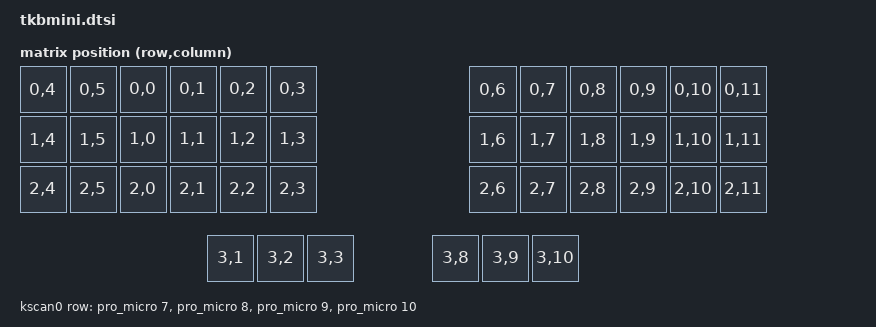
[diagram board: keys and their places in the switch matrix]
#include <dt-bindings/zmk/matrix_transform.h>
#include <physical_layouts.dtsi>


/ {

	chosen {
		zmk,kscan = &kscan0;
		zmk,physical-layouts = tkbmini_layout;
	};

	default_transform: keymap_transform_0 {
		compatible = "zmk,matrix-transform";
		columns = <12>;
		rows = <4>;
		map = <
	 RC(0,0) RC(0,1) RC(0,2) RC(0,3) RC(0,4) RC(0,5)    RC(0,6) RC(0,7) RC(0,8) RC(0,9) RC(0,10) RC(0,11)
	 RC(1,0) RC(1,1) RC(1,2) RC(1,3) RC(1,4) RC(1,5)    RC(1,6) RC(1,7) RC(1,8) RC(1,9) RC(1,10) RC(1,11)
	 RC(2,0) RC(2,1) RC(2,2) RC(2,3) RC(2,4) RC(2,5)    RC(2,6) RC(2,7) RC(2,8) RC(2,9) RC(2,10) RC(2,11)
			 RC(3,1) RC(3,2) RC(3,3)                                    RC(3,8) RC(3,9) RC(3,10)
		>;
	};

	 kscan0: kscan {
        compatible = "zmk,kscan-gpio-matrix";
        label = "KSCAN";
        diode-direction = "col2row";
		row-gpios
			= <&pro_micro 7 (GPIO_ACTIVE_HIGH | GPIO_PULL_DOWN)>
			, <&pro_micro 8 (GPIO_ACTIVE_HIGH | GPIO_PULL_DOWN)>
			, <&pro_micro 9  (GPIO_ACTIVE_HIGH | GPIO_PULL_DOWN)>
			, <&pro_micro 10  (GPIO_ACTIVE_HIGH | GPIO_PULL_DOWN)>
			;
    };


    physical_layout0: tkbmini_layout {
        compatible = "zmk,physical-layout";
        display-name = "tkbmini";

        kscan = <&kscan0>;
        transform = <&matrix_transform0>;

        keys  //                     w   h    x    y     rot    rx    ry
            = <&key_physical_attrs 100 100  200    0       0     0     0>
            , <&key_physical_attrs 100 100  300    0       0     0     0>
            , <&key_physical_attrs 100 100  400    0       0     0     0>
            , <&key_physical_attrs 100 100  500    0       0     0     0>
            , <&key_physical_attrs 100 100    0    1       0     0     0>
            , <&key_physical_attrs 100 100  100    1       0     0     0>
            , <&key_physical_attrs 100 100  900    1       0     0     0>
            , <&key_physical_attrs 100 100 1000    1       0     0     0>
            , <&key_physical_attrs 100 100 1100    1       0     0     0>
            , <&key_physical_attrs 100 100 1200    1       0     0     0>
            , <&key_physical_attrs 100 100 1300    1       0     0     0>
            , <&key_physical_attrs 100 100 1400    1       0     0     0>
            , <&key_physical_attrs 100 100  200  100       0     0     0>
            , <&key_physical_attrs 100 100  300  100       0     0     0>
            , <&key_physical_attrs 100 100  400  100       0     0     0>
            , <&key_physical_attrs 100 100  500  100       0     0     0>
            , <&key_physical_attrs 100 100    0  101       0     0     0>
            , <&key_physical_attrs 100 100  100  101       0     0     0>
            , <&key_physical_attrs 100 100  900  101       0     0     0>
            , <&key_physical_attrs 100 100 1000  101       0     0     0>
            , <&key_physical_attrs 100 100 1100  101       0     0     0>
            , <&key_physical_attrs 100 100 1200  101       0     0     0>
            , <&key_physical_attrs 100 100 1300  101       0     0     0>
            , <&key_physical_attrs 100 100 1400  101       0     0     0>
            , <&key_physical_attrs 100 100  200  200       0     0     0>
            , <&key_physical_attrs 100 100  300  200       0     0     0>
            , <&key_physical_attrs 100 100  400  200       0     0     0>
            , <&key_physical_attrs 100 100  500  200       0     0     0>
            , <&key_physical_attrs 100 100    0  200       0     0     0>
            , <&key_physical_attrs 100 100  100  200       0     0     0>
            , <&key_physical_attrs 100 100  900  200       0     0     0>
            , <&key_physical_attrs 100 100 1000  200       0     0     0>
            , <&key_physical_attrs 100 100 1100  200       0     0     0>
            , <&key_physical_attrs 100 100 1200  200       0     0     0>
            , <&key_physical_attrs 100 100 1300  200       0     0     0>
            , <&key_physical_attrs 100 100 1400  200       0     0     0>
            , <&key_physical_attrs 100 100  375  338       0     0     0>
            , <&key_physical_attrs 100 100  475  338       0     0     0>
            , <&key_physical_attrs 100 100  575  338       0     0     0>
            , <&key_physical_attrs 100 100  825  338       0     0     0>
            , <&key_physical_attrs 100 100  925  338       0     0     0>
            , <&key_physical_attrs 100 100 1025  338       0     0     0>
            ;
    };
};


&tkbmini_layout{

	transform = <&default_transform>;

	kscan = <&kscan0>;

};



zephyr_udc0: &usbd { 

    compatible = "nordic,nrf-usbd"; 

    status = "okay"; 

};
